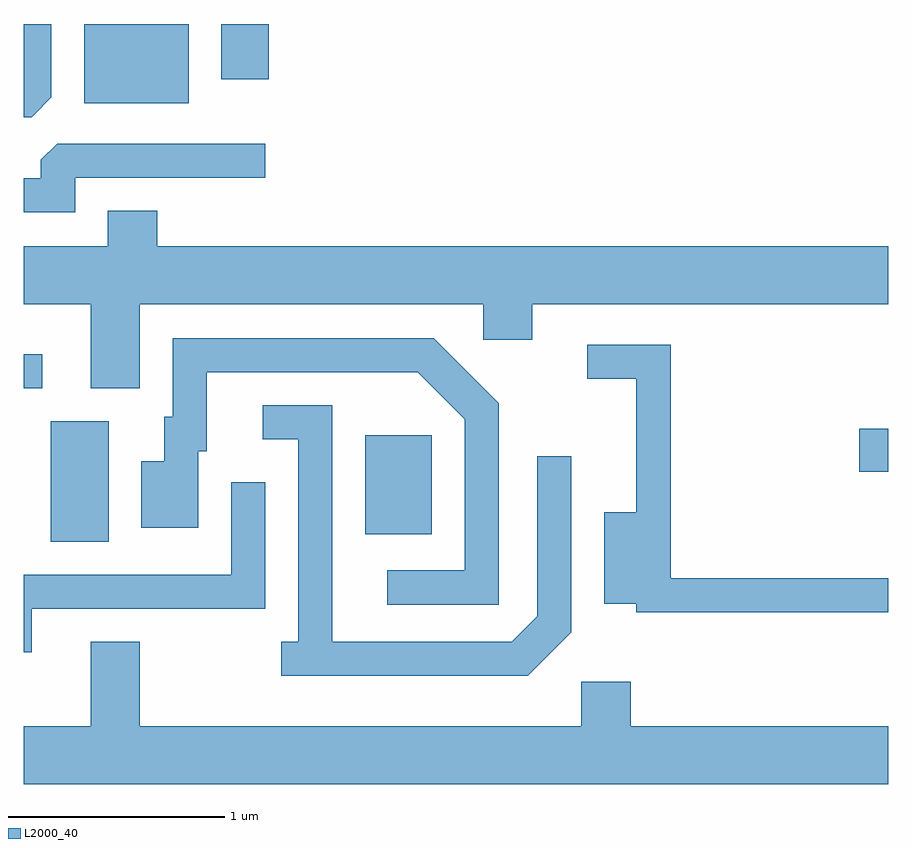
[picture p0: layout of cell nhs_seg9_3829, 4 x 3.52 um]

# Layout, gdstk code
import gdstk
lib = gdstk.Library(unit=1e-6, precision=1e-09)
def R(c, l, rs):  # rectangles x0, y0, x1, y1
    for r in rs: c.add(gdstk.rectangle(r[:2], r[2:], *l))
def P(c, l, *ps):  # polygons
    for p in ps: c.add(gdstk.Polygon(p, *l))
L2000_40 = (2000, 40)

nhs_seg9_3829 = lib.new_cell('nhs_seg9_3829')
R(nhs_seg9_3829, L2000_40, [(297.736,2004.036,298.004,2004.594), (299.191,2004.071,299.499,2004.529), (301.476,2004.361,301.611,2004.559), (297.611,2004.746,297.698,2004.904), (297.891,2006.066,298.374,2006.432), (298.526,2006.176,298.744,2006.432)])
P(nhs_seg9_3829, L2000_40, [(297.66,2006.013),(297.739,2006.092),(297.739,2006.432),(297.611,2006.432),(297.611,2006.001),(297.649,2006.001)],
  [(297.849,2005.721),(298.728,2005.721),(298.728,2005.879),(297.767,2005.879),(297.691,2005.804),(297.691,2005.719),(297.611,2005.719),(297.611,2005.561),(297.849,2005.561)],
  [(298.149,2005.136),(299.736,2005.136),(299.736,2004.971),(299.964,2004.971),(299.964,2005.136),(301.611,2005.136),(301.611,2005.404),(298.229,2005.404),(298.229,2005.569),(298.001,2005.569),(298.001,2005.404),(297.611,2005.404),(297.611,2005.136),(297.921,2005.136),(297.921,2004.746),(298.149,2004.746)],
  [(299.809,2004.677),(299.507,2004.979),(298.301,2004.979),(298.301,2004.614),(298.261,2004.614),(298.261,2004.409),(298.156,2004.409),(298.156,2004.101),(298.419,2004.101),(298.419,2004.456),(298.459,2004.456),(298.459,2004.821),(299.434,2004.821),(299.651,2004.604),(299.651,2003.904),(299.293,2003.904),(299.293,2003.746),(299.809,2003.746)],
  [(301.611,2003.869),(300.604,2003.869),(300.604,2004.949),(300.218,2004.949),(300.218,2004.791),(300.446,2004.791),(300.446,2004.174),(300.296,2004.174),(300.296,2003.751),(300.446,2003.751),(300.446,2003.711),(301.611,2003.711)],
  [(300.144,2003.619),(300.144,2004.433),(299.986,2004.433),(299.986,2003.692),(299.869,2003.574),(299.039,2003.574),(299.039,2004.669),(298.718,2004.669),(298.718,2004.511),(298.881,2004.511),(298.881,2003.574),(298.803,2003.574),(298.803,2003.416),(299.942,2003.416)],
  [(297.649,2003.726),(298.729,2003.726),(298.729,2004.313),(298.571,2004.313),(298.571,2003.884),(297.611,2003.884),(297.611,2003.526),(297.649,2003.526)],
  [(301.611,2003.184),(300.419,2003.184),(300.419,2003.389),(300.191,2003.389),(300.191,2003.184),(298.149,2003.184),(298.149,2003.574),(297.921,2003.574),(297.921,2003.184),(297.611,2003.184),(297.611,2002.916),(301.611,2002.916)])

lib.write_gds('nhs_seg9_3829.gds')
